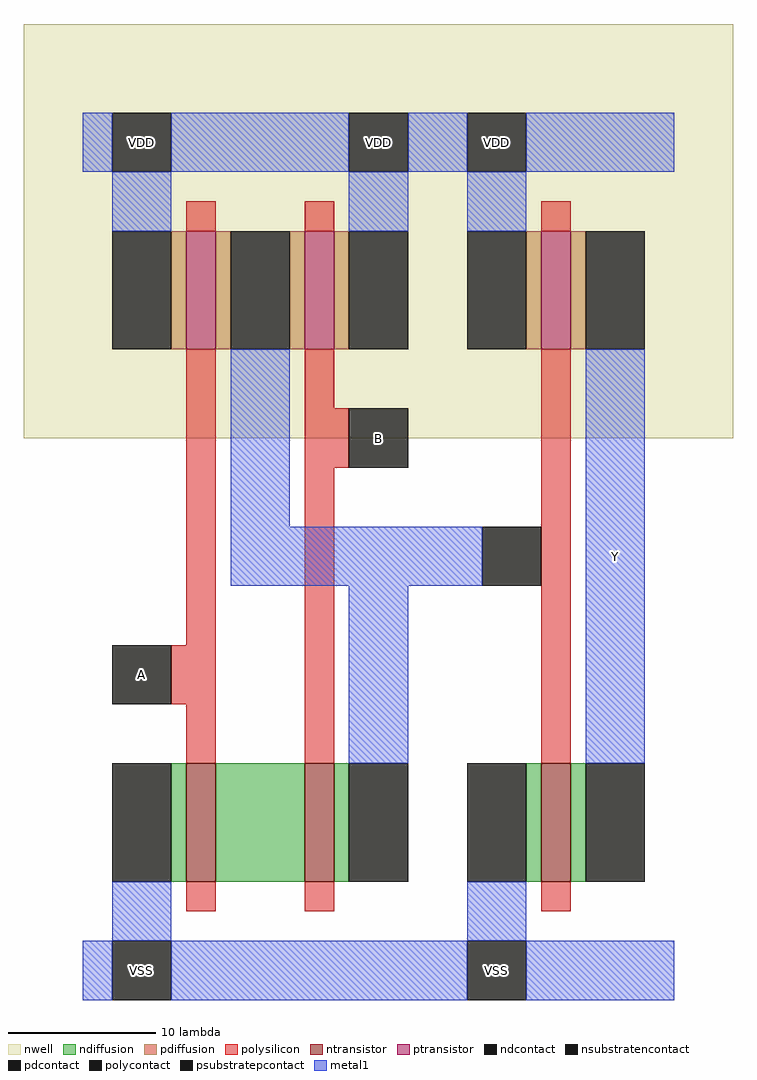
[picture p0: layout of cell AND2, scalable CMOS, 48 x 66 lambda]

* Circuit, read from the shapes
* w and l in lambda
.subckt AND2 A B VDD VSS Y
M1 n1 A VSS VSS nfet w=8 l=2
M2 n2 B n1 VSS nfet w=8 l=2
M3 Y n2 VSS VSS nfet w=8 l=2
M4 n2 A VDD VDD pfet w=8 l=2
M5 VDD B n2 VDD pfet w=8 l=2
M6 Y n2 VDD VDD pfet w=8 l=2
.ends

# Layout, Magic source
magic
tech scmos
<< nwell >>
rect -4 38 44 66
<< ntransistor >>
rect 7 8 9 16
rect 15 8 17 16
rect 31 8 33 16
<< ptransistor >>
rect 7 44 9 52
rect 15 44 17 52
rect 31 44 33 52
<< ndiffusion >>
rect 6 8 7 16
rect 9 8 15 16
rect 17 8 18 16
rect 30 8 31 16
rect 33 8 34 16
<< pdiffusion >>
rect 6 44 7 52
rect 9 44 10 52
rect 14 44 15 52
rect 17 44 18 52
rect 30 44 31 52
rect 33 44 34 52
<< ndcontact >>
rect 2 8 6 16
rect 18 8 22 16
rect 26 8 30 16
rect 34 8 38 16
<< pdcontact >>
rect 2 44 6 52
rect 10 44 14 52
rect 18 44 22 52
rect 26 44 30 52
rect 34 44 38 52
<< psubstratepcontact >>
rect 2 0 6 4
rect 26 0 30 4
<< nsubstratencontact >>
rect 2 56 6 60
rect 18 56 22 60
rect 26 56 30 60
<< polysilicon >>
rect 7 52 9 54
rect 15 52 17 54
rect 31 52 33 54
rect 7 24 9 44
rect 6 20 9 24
rect 7 16 9 20
rect 15 40 17 44
rect 15 36 18 40
rect 15 16 17 36
rect 31 16 33 44
rect 7 6 9 8
rect 15 6 17 8
rect 31 6 33 8
<< polycontact >>
rect 2 20 6 24
rect 18 36 22 40
rect 27 28 31 32
<< metal1 >>
rect 0 56 2 60
rect 6 56 18 60
rect 22 56 26 60
rect 30 56 40 60
rect 2 52 6 56
rect 18 52 22 56
rect 26 52 30 56
rect 10 32 14 44
rect 10 28 27 32
rect 18 16 22 28
rect 34 16 38 44
rect 2 4 6 8
rect 26 4 30 8
rect 0 0 2 4
rect 6 0 26 4
rect 30 0 40 4
<< labels >>
rlabel polycontact 4 22 4 22 3 A
rlabel psubstratepcontact 4 2 4 2 2 VSS
rlabel psubstratepcontact 28 2 28 2 1 VSS
rlabel nsubstratencontact 4 58 4 58 4 VDD
rlabel polycontact 20 38 20 38 7 B
rlabel nsubstratencontact 20 58 20 58 6 VDD
rlabel metal1 36 30 36 30 1 Y
rlabel nsubstratencontact 28 58 28 58 1 VDD
<< end >>
